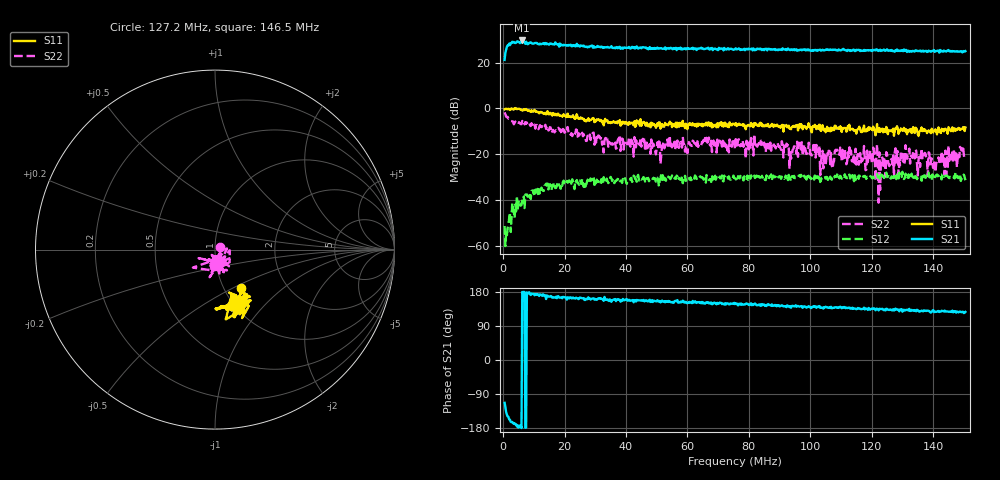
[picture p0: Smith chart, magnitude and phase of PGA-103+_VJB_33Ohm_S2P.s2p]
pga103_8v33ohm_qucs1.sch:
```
<Qucs Schematic 0.0.19>
<Properties>
  <View=0,44,1575,931,1,0,0>
  <Grid=10,10,1>
  <DataSet=pga103_8v33ohm_qucs1.dat>
  <DataDisplay=pga103_8v33ohm_qucs1.dpl>
  <OpenDisplay=1>
  <Script=pga103_8v33ohm_qucs1.m>
  <RunScript=0>
  <showFrame=0>
  <FrameText0=Title>
  <FrameText1=Drawn By:>
  <FrameText2=Date:>
  <FrameText3=Revision:>
</Properties>
<Symbol>
</Symbol>
<Components>
  <Pac P1 1 80 190 18 -26 0 1 "1" 1 "50 Ohm" 1 "0 dBm" 0 "1 GHz" 0 "26.85" 0>
  <GND * 1 80 220 0 0 0 0>
  <.SP SP1 1 60 350 0 78 0 0 "log" 1 ".5MHz" 1 "150MHz" 1 "601" 1 "no" 0 "1" 0 "2" 0 "no" 0 "no" 0>
  <L L1 0 220 150 10 -26 0 1 "620 nH" 1 "" 0>
  <GND * 0 220 300 0 0 0 0>
  <Eqn Eqn1 1 250 370 -28 15 0 0 "dBS21=dB(S[2,1])" 1 "K1=PlotVs(K,f_mhz)" 1 "K=Rollet(S)" 1 "delta=S[1,1]*S[2,2]-S[1,2]*S[2,1]" 1 "dBS22=dB(S[2,2])" 1 "dBS12=dB(S[1,2])" 1 "FilterResponse=PlotVs(dBS21,f_mhz)" 1 "f_mhz=frequency/1e6" 1 "dBS11=dB(S[1,1])" 1 "yes" 0>
  <C C1 0 220 270 17 -26 0 1 "330 pF" 1 "" 0 "neutral" 0>
  <R R1 0 220 210 15 -26 0 1 "51 Ohm" 1 "26.85" 0 "0.0" 0 "0.0" 0 "26.85" 0 "US" 0>
  <GND * 1 470 150 0 0 0 0>
  <SPfile PGA103 1 470 120 -26 -43 0 0 "/home/zleffke/rf_meas/PGA103_VJB/8v_33ohm/raw/PGA-103+_VJB_33Ohm_S2P.s2p" 0 "rectangular" 0 "linear" 0 "open" 0 "2" 0>
  <Pac P2 1 560 190 18 -26 0 1 "2" 1 "50 Ohm" 1 "0 dBm" 0 "1 GHz" 0 "26.85" 0>
  <GND * 1 560 220 0 0 0 0>
  <GND * 0 360 180 0 0 0 0>
  <R R2 0 360 150 15 -26 0 1 "1 kOhm" 1 "26.85" 0 "0.0" 0 "0.0" 0 "26.85" 0 "US" 0>
</Components>
<Wires>
  <80 120 80 160 "" 0 0 0 "">
  <80 120 220 120 "" 0 0 0 "">
  <220 120 360 120 "" 0 0 0 "">
  <500 120 560 120 "" 0 0 0 "">
  <560 120 560 160 "" 0 0 0 "">
  <360 120 440 120 "" 0 0 0 "">
</Wires>
<Diagrams>
  <Rect 880 520 648 403 3 #c0c0c0 1 00 1 0 10 150 0 0 1 3 1 -1 0.2 1 315 0 225 "Frequency [MHz]" "K" "">
	<"K1" #ff0000 0 3 0 0 0>
  </Rect>
  <Rect 881 825 649 243 3 #c0c0c0 1 00 1 300000 1 3e+08 1 21.1862 2 30.482 1 -1 0.5 1 315 0 225 "" "" "">
	<"dBS21" #0000ff 0 3 0 0 0>
  </Rect>
</Diagrams>
<Paintings>
</Paintings>
```
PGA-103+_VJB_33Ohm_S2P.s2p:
!Keysight Technologies N9926A: A.10.18
!Date: Saturday, 25 July 2020 11:54:18
!Timezone:
!Model: N9926A
!Serial: MY57271140
!GPS Latitude:
!GPS Longitude:
!GPS TimeStamp: 0001-01-01 00:00:00Z
!GPS Seconds Since Last Read: 0
!CHECKSUM:1274141403
!Correction: S11(ON U)S21(ON U)S12(ON U)S22(ON U)
!S2P File: Measurements:S11,S21,S12,S22:
# Hz S DB R 50
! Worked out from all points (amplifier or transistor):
!   601 points, 500 kHz to 150.5 MHz, reference 50 ohm
!   highest |S21| = 29.6 dB at 6 MHz (marker M1)
!   |S21| within 3 dB of that: 1.198 MHz to 29.21 MHz (28.01 MHz wide, 184 % of centre)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
!   unconditionally stable (mu >= 1): 105.5 MHz to 107.9 MHz; 121.9 MHz to 124.6 MHz; 134.5 MHz to 137.2 MHz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
!   at 25.5 MHz: K = 0.82, MSG = 30.0 dB, |S12| = -32.8 dB
!   at 75.5 MHz: K = 0.98, MSG = 28.1 dB, |S12| = -30.4 dB
!   at 150.5 MHz: K = 1.10, MAG = 26.1 dB, |S12| = -31.2 dB
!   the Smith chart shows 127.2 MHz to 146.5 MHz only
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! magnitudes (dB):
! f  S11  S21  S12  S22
! 500 kHz  -0.4  21.1  -51.1  -1.7
! 6 MHz  -0.5  29.6  -42.0  -6.9
! 20.25 MHz  -3.1  27.5  -32.5  -10.1
! 52 MHz  -7.8  25.9  -29.1  -15.9
! 75.5 MHz  -7.2  25.8  -30.4  -17.5
! 107 MHz  -9.7  25.5  -31.0  -24.8
! 120.2 MHz  -9.4  25.5  -30.5  -24.0
! 122 MHz  -9.9  25.1  -29.9  -24.0
! 131.8 MHz  -9.7  25.1  -30.1  -20.5
! 140.5 MHz  -9.6  24.6  -30.9  -24.5
! 150.5 MHz  -8.2  25.0  -31.2  -22.3
